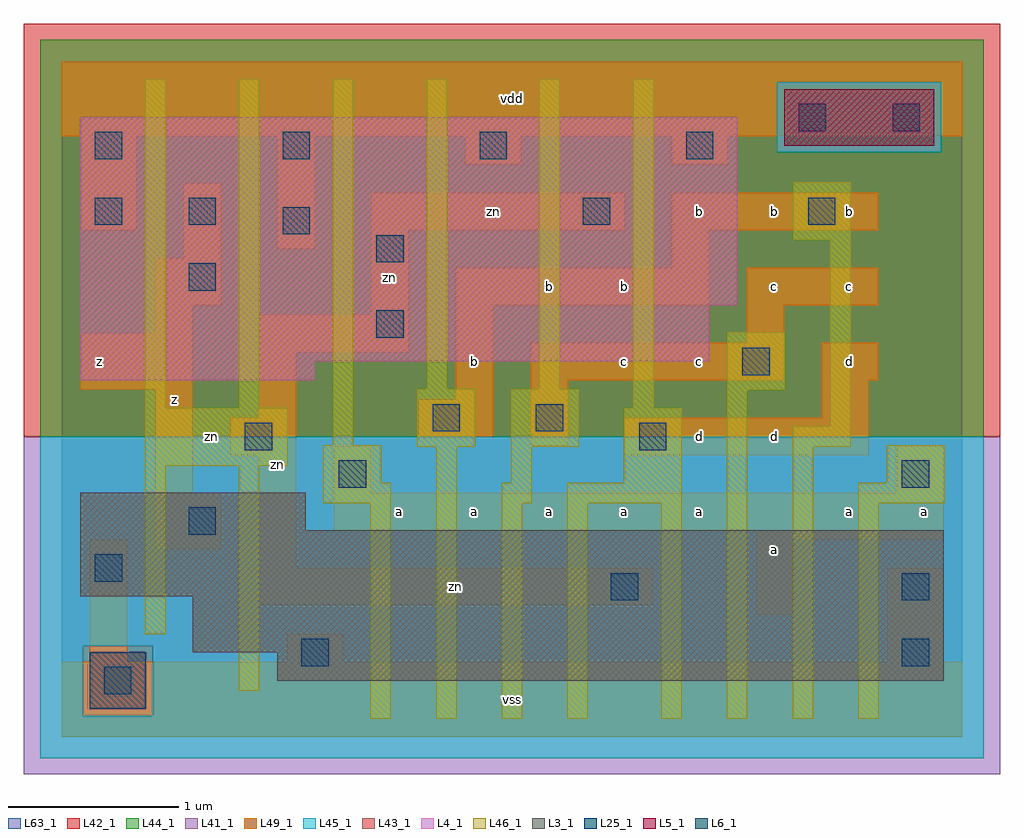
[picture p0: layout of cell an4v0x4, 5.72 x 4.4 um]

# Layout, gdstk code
import gdstk
lib = gdstk.Library(unit=1e-6, precision=1e-09)
def R(c, l, rs):  # rectangles x0, y0, x1, y1
    for r in rs: c.add(gdstk.rectangle(r[:2], r[2:], *l))
L3_1 = (3, 1)
L4_1 = (4, 1)
L5_1 = (5, 1)
L6_1 = (6, 1)
L25_1 = (25, 1)
L41_1 = (41, 1)
L42_1 = (42, 1)
L43_1 = (43, 1)
L44_1 = (44, 1)
L45_1 = (45, 1)
L46_1 = (46, 1)
L49_1 = (49, 1)
L63_1 = (63, 1)

an4v0x4 = lib.new_cell('an4v0x4')
R(an4v0x4, L3_1, [(1.265,0.33,5.17,0.495), (0.77,0.495,5.17,0.825), (0.11,0.825,5.17,1.21), (0.11,1.21,1.43,1.43)])
R(an4v0x4, L4_1, [(0.11,2.09,1.485,2.2), (0.11,2.2,3.795,2.53), (0.11,2.53,3.96,3.63)])
R(an4v0x4, L5_1, [(4.235,3.465,5.115,3.795)])
R(an4v0x4, L6_1, [(0.165,0.165,0.495,0.495)])
R(an4v0x4, L25_1, [(0.25,0.25,0.41,0.41), (1.405,0.415,1.565,0.575), (4.925,0.415,5.085,0.575), (3.22,0.8,3.38,0.96), (4.925,0.8,5.085,0.96), (0.195,0.91,0.355,1.07), (0.745,1.185,0.905,1.345), (1.625,1.46,1.785,1.62), (4.925,1.46,5.085,1.62), (1.075,1.68,1.235,1.84), (3.385,1.68,3.545,1.84), (2.175,1.79,2.335,1.95), (2.78,1.79,2.94,1.95), (3.99,2.12,4.15,2.28), (1.845,2.34,2.005,2.5), (0.745,2.615,0.905,2.775), (1.845,2.78,2.005,2.94), (1.295,2.945,1.455,3.105), (0.195,3,0.355,3.16), (0.745,3,0.905,3.16), (3.055,3,3.215,3.16), (4.375,3,4.535,3.16), (0.195,3.385,0.355,3.545), (1.295,3.385,1.455,3.545), (2.45,3.385,2.61,3.545), (3.66,3.385,3.82,3.545), (4.32,3.55,4.48,3.71), (4.87,3.55,5.03,3.71)])
R(an4v0x4, L41_1, [(-0.22,-0.22,5.5,1.76)])
R(an4v0x4, L42_1, [(-0.22,1.76,5.5,4.18)])
R(an4v0x4, L43_1, [(0.165,0.165,0.495,0.495), (1.265,0.33,5.17,0.495), (0.77,0.495,5.17,0.825), (0.11,0.825,5.17,1.21), (0.11,1.21,1.43,1.43), (0.11,2.09,1.485,2.2), (0.11,2.2,3.795,2.53), (0.11,2.53,3.96,3.63), (4.235,3.465,5.115,3.795)])
R(an4v0x4, L44_1, [(0.125,0.125,0.535,0.535), (-0.125,1.76,5.405,3.425), (-0.125,3.425,4.195,3.835), (5.155,3.425,5.405,3.835), (-0.125,3.835,5.405,4.085)])
R(an4v0x4, L45_1, [(-0.125,-0.125,5.405,0.125), (-0.125,0.125,0.125,0.535), (0.535,0.125,5.405,0.535), (-0.125,0.535,5.405,1.76), (4.195,3.425,5.155,3.835)])
R(an4v0x4, L46_1, [(1.81,0.105,1.93,1.37), (2.195,0.105,2.315,1.7), (2.58,0.105,2.7,1.37), (2.965,0.105,3.085,1.37), (3.515,0.105,3.635,1.37), (3.9,0.105,4.02,2.03), (4.285,0.105,4.405,1.7), (4.67,0.105,4.79,1.37), (1.04,0.27,1.16,1.59), (0.49,0.6,0.61,1.59), (1.535,1.37,1.93,1.49), (2.58,1.37,2.755,1.49), (2.965,1.37,3.635,1.49), (4.67,1.37,5.175,1.49), (1.535,1.49,1.875,1.71), (2.635,1.49,2.755,1.7), (3.295,1.49,3.635,1.93), (4.835,1.49,5.175,1.71), (0.49,1.59,1.325,1.93), (2.085,1.7,2.425,2.04), (2.635,1.7,3.03,2.04), (4.285,1.7,4.625,1.82), (1.59,1.71,1.71,3.855), (4.505,1.82,4.625,2.91), (0.49,1.93,0.61,3.855), (1.04,1.93,1.16,3.855), (3.35,1.93,3.47,3.855), (3.9,2.03,4.24,2.37), (2.14,2.04,2.26,3.855), (2.8,2.04,2.92,3.855), (4.285,2.91,4.625,3.25)])
R(an4v0x4, L49_1, [(0,0,5.28,0.44), (0.165,0.44,0.385,1.155), (1.32,0.44,1.65,0.605), (4.84,0.44,5.17,0.99), (4.07,0.715,4.29,1.155), (1.155,0.77,3.465,0.99), (1.155,0.99,1.375,1.65), (0.55,1.1,0.935,1.43), (4.07,1.155,5.17,1.21), (1.595,1.21,5.17,1.43), (0.55,1.43,0.77,2.035), (1.595,1.43,1.815,1.705), (4.895,1.43,5.17,1.705), (0.99,1.65,1.375,1.87), (3.3,1.65,4.73,1.87), (2.75,1.705,2.97,2.09), (2.09,1.76,2.53,1.98), (1.155,1.87,1.375,2.255), (4.455,1.87,4.73,2.09), (2.31,1.98,2.53,2.53), (0.11,2.035,0.77,2.365), (2.75,2.09,4.235,2.31), (4.455,2.09,4.785,2.31), (1.155,2.255,2.035,2.475), (4.015,2.31,4.235,2.53), (0.55,2.365,0.77,2.53), (1.815,2.475,2.035,2.97), (0.55,2.53,0.935,2.805), (2.31,2.53,3.795,2.75), (4.015,2.53,4.785,2.75), (3.575,2.75,3.795,2.97), (0.715,2.805,0.935,3.245), (1.265,2.86,1.485,3.52), (0.11,2.97,0.44,3.52), (1.815,2.97,3.3,3.19), (3.575,2.97,4.785,3.19), (2.365,3.355,2.695,3.52), (3.575,3.355,3.905,3.52), (0,3.52,5.28,3.96)])
R(an4v0x4, L63_1, [(0,0,5.28,3.96)])
an4v0x4.add(gdstk.Label('zn', (0.88,1.76), layer=46, texttype=1))
an4v0x4.add(gdstk.Label('z', (0.66,1.98), layer=49, texttype=1))
an4v0x4.add(gdstk.Label('z', (0.22,2.2), layer=49, texttype=1))
an4v0x4.add(gdstk.Label('zn', (1.265,1.595), layer=49, texttype=1))
an4v0x4.add(gdstk.Label('zn', (1.925,2.695), layer=49, texttype=1))
an4v0x4.add(gdstk.Label('vss', (2.64,0.22), layer=49, texttype=1))
an4v0x4.add(gdstk.Label('a', (1.98,1.32), layer=49, texttype=1))
an4v0x4.add(gdstk.Label('a', (2.42,1.32), layer=49, texttype=1))
an4v0x4.add(gdstk.Label('a', (2.86,1.32), layer=49, texttype=1))
an4v0x4.add(gdstk.Label('b', (2.42,2.2), layer=49, texttype=1))
an4v0x4.add(gdstk.Label('b', (2.86,2.64), layer=49, texttype=1))
an4v0x4.add(gdstk.Label('vdd', (2.64,3.74), layer=49, texttype=1))
an4v0x4.add(gdstk.Label('zn', (2.31,0.88), layer=49, texttype=1))
an4v0x4.add(gdstk.Label('a', (3.3,1.32), layer=49, texttype=1))
an4v0x4.add(gdstk.Label('a', (3.74,1.32), layer=49, texttype=1))
an4v0x4.add(gdstk.Label('a', (4.18,1.1), layer=49, texttype=1))
an4v0x4.add(gdstk.Label('d', (3.74,1.76), layer=49, texttype=1))
an4v0x4.add(gdstk.Label('d', (4.18,1.76), layer=49, texttype=1))
an4v0x4.add(gdstk.Label('c', (3.3,2.2), layer=49, texttype=1))
an4v0x4.add(gdstk.Label('c', (3.74,2.2), layer=49, texttype=1))
an4v0x4.add(gdstk.Label('b', (3.3,2.64), layer=49, texttype=1))
an4v0x4.add(gdstk.Label('c', (4.18,2.64), layer=49, texttype=1))
an4v0x4.add(gdstk.Label('b', (3.74,3.08), layer=49, texttype=1))
an4v0x4.add(gdstk.Label('b', (4.18,3.08), layer=49, texttype=1))
an4v0x4.add(gdstk.Label('zn', (2.53,3.08), layer=49, texttype=1))
an4v0x4.add(gdstk.Label('a', (4.62,1.32), layer=49, texttype=1))
an4v0x4.add(gdstk.Label('a', (5.06,1.32), layer=49, texttype=1))
an4v0x4.add(gdstk.Label('d', (4.62,2.2), layer=49, texttype=1))
an4v0x4.add(gdstk.Label('c', (4.62,2.64), layer=49, texttype=1))
an4v0x4.add(gdstk.Label('b', (4.62,3.08), layer=49, texttype=1))

lib.write_gds('an4v0x4.gds')
